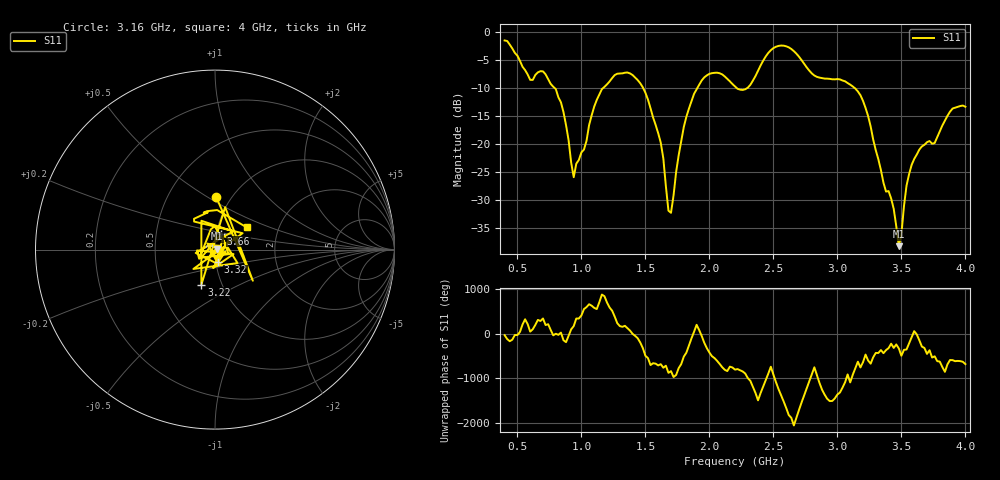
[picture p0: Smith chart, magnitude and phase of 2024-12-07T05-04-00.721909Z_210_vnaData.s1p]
!Created with skrf (http://scikit-rf.org).
# Hz S RI R 50.0
!freq ReS11 ImS11
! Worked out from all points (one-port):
!   181 points, 400 MHz to 4 GHz, reference 50 ohm
!   lowest |S11| = -38.3 dB at 3.48 GHz (marker M1), VSWR 1.02, Z = 51.1 + j0.557 ohm
!   |S11| at or under -10 dB: 791.5 MHz to 1.169 GHz (377.9 MHz wide, 38.5 % of centre); 1.483 GHz to 1.905 GHz (422.7 MHz wide, 25 % of centre); 3.136 GHz to end of sweep (the widest 3 of 4)
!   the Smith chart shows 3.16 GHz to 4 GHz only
!   S11 on the Smith chart (normalised r, x): 3.16 GHz: 0.85, +0.55; 3.22 GHz: 0.80, -0.33; 3.32 GHz: 1.03, -0.15; 3.66 GHz: 1.05, +0.19; 4 GHz: 1.37, +0.36
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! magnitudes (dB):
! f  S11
! 400 MHz  -1.5
! 600 MHz  -8.5
! 720 MHz  -7.5
! 860 MHz  -14.3
! 940 MHz  -25.9
! 1.12 GHz  -12.1
! 1.3 GHz  -7.4
! 1.52 GHz  -12.1
! 1.62 GHz  -19.8
! 1.68 GHz  -31.9
! 1.7 GHz  -32.3
! 1.76 GHz  -22.0
! 1.82 GHz  -15.1
! 1.94 GHz  -8.6
! 2.2 GHz  -9.7
! 2.3 GHz  -9.9
! 2.5 GHz  -2.9
! 2.66 GHz  -3.4
! 2.82 GHz  -7.8
! 3.1 GHz  -9.4
! 3.16 GHz  -10.6
! 3.22 GHz  -13.6
! 3.32 GHz  -22.7
! 3.44 GHz  -31.6
! 3.48 GHz  -38.3
! 3.56 GHz  -25.4
! 3.66 GHz  -20.4
! 4 GHz  -13.3
